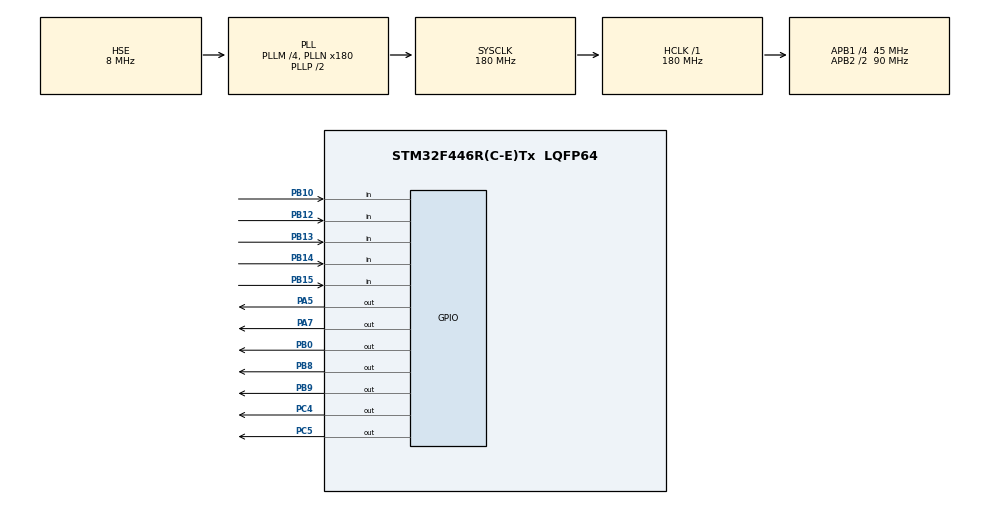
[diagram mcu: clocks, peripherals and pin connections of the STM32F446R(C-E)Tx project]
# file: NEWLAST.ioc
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Mcu.Family=STM32F4
Mcu.Name=STM32F446R(C-E)Tx
Mcu.Package=LQFP64
NVIC.PriorityGroup=NVIC_PRIORITYGROUP_4
PA13.Mode=Serial_Wire
PA13.Signal=SYS_JTMS-SWDIO
PA14.Mode=Serial_Wire
PA14.Signal=SYS_JTCK-SWCLK
PA5.Signal=GPIO_Output
PA7.Signal=GPIO_Output
PB0.Signal=GPIO_Output
PB10.Signal=GPIO_Input
PB12.Signal=GPIO_Input
PB13.Signal=GPIO_Input
PB14.Signal=GPIO_Input
PB15.Signal=GPIO_Input
PB8.Signal=GPIO_Output
PB9.Signal=GPIO_Output
PC4.Signal=GPIO_Output
PC5.Signal=GPIO_Output
PH0-OSC_IN.Mode=HSE-External-Oscillator
PH0-OSC_IN.Signal=RCC_OSC_IN
PH1-OSC_OUT.Mode=HSE-External-Oscillator
PH1-OSC_OUT.Signal=RCC_OSC_OUT
ProjectManager.HeapSize=0x200
ProjectManager.StackSize=0x400
ProjectManager.TargetToolchain=EWARM V8.32
RCC.AHBFreq_Value=180000000
RCC.APB1CLKDivider=RCC_HCLK_DIV4
RCC.APB1Freq_Value=45000000
RCC.APB1TimFreq_Value=90000000
RCC.APB2CLKDivider=RCC_HCLK_DIV2
RCC.APB2Freq_Value=90000000
RCC.APB2TimFreq_Value=180000000
RCC.CortexFreq_Value=180000000
RCC.HCLKFreq_Value=180000000
RCC.HSE_VALUE=8000000
RCC.PLLM=4
RCC.PLLN=180
RCC.PLLSourceVirtual=RCC_PLLSOURCE_HSE
RCC.SYSCLKFreq_VALUE=180000000
RCC.SYSCLKSource=RCC_SYSCLKSOURCE_PLLCLK
RCC.USBFreq_Value=180000000
RCC.VCOOutputFreq_Value=360000000
RTC.Date=31
RTC.Hours=18
RTC.Minutes=30
RTC.Month=RTC_MONTH_AUGUST
RTC.Seconds=30
RTC.Year=20
VP_RTC_VS_RTC_Activate.Mode=RTC_Enabled
VP_RTC_VS_RTC_WakeUp_intern.Mode=WakeUp
board=custom

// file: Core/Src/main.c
/* USER CODE BEGIN Header */
/**
  ******************************************************************************
  * @file           : main.c
  * @brief          : Main program body
  ******************************************************************************
  * @attention
  *
  * <h2><center>&copy; Copyright (c) 2020 STMicroelectronics.
  * All rights reserved.</center></h2>
  *
  * This software component is licensed by ST under BSD 3-Clause license,
  * the "License"; You may not use this file except in compliance with the
  * License. You may obtain a copy of the License at:
  *                        opensource.org/licenses/BSD-3-Clause
  *
  ******************************************************************************
  */
/* USER CODE END Header */
#include "main.h"
#include "rtc.h"
#include "gpio.h"
#include "stdbool.h"

void SystemClock_Config(void);
void main_menu(void);
void menu_display(void);

int main(void)
{

  /* MCU Configuration--------------------------------------------------------*/

  /* Reset of all peripherals, Initializes the Flash interface and the Systick. */
  HAL_Init();

  /* Configure the system clock */
  SystemClock_Config();

  /* Initialize all configured peripherals */
  MX_GPIO_Init();
  MX_RTC_Init();
  OLED_Init();

  /* Infinite loop */
  /* USER CODE BEGIN WHILE */
  while (1)
  {
      main_menu();
      if(HAL_GPIO_ReadPin(GPIOB,GPIO_PIN_15)==GPIO_PIN_RESET)
      {
       int t = 1;
       while(t<2)
        {
        menu_display();
       if(HAL_GPIO_ReadPin(GPIOB,GPIO_PIN_10)==GPIO_PIN_RESET)
       {
          t = 2;
       }
       }
       }
  }

    /* USER CODE BEGIN 3 */
  /* USER CODE END 3 */
}
void menu_display(void)
{
  HAL_Delay(50);
  OLED_Clear();
  OLED_ShowChinese(0,0,0,16);//��
  OLED_ShowChinese(18,0,1,16);//��
  OLED_ShowChinese(0,18,2,16);//԰
  OLED_ShowChinese(18,18,3,16);//��
//  OLED_DrawCircle(60,32,30);
//  OLED_DrawLine(48,16,54,16);
//  OLED_DrawLine(66,16,74,16);
 // OLED_DrawCircle(60,48,5);
 //OLED_DrawPoint(60,40);
  OLED_Refresh();

  if(HAL_GPIO_ReadPin(GPIOB,GPIO_PIN_13)==GPIO_PIN_RESET)
  {
    int g = 1;
    int t = 0;
    HAL_GPIO_TogglePin(GPIOB,GPIO_PIN_8);
    HAL_GPIO_WritePin(GPIOB,GPIO_PIN_9,GPIO_PIN_SET);
    HAL_Delay(100);
    while(HAL_GPIO_ReadPin(GPIOB,GPIO_PIN_13)==GPIO_PIN_RESET)
    {
      HAL_Delay(100);
      t = t+1;
      if(t==30)
      {
      while(g<2)
      {
      HAL_Delay(50);
      OLED_ShowChinese(92,0,8,16);
      OLED_ShowChinese(108,0,9,16);
      OLED_Refresh();
      HAL_GPIO_WritePin(GPIOB,GPIO_PIN_8,GPIO_PIN_SET);
      HAL_Delay(500);
      HAL_GPIO_WritePin(GPIOB,GPIO_PIN_8,GPIO_PIN_RESET);
      HAL_Delay(500);
      if(HAL_GPIO_ReadPin(GPIOB,GPIO_PIN_13)==GPIO_PIN_RESET)
      {
        g = 2;
      }
      }
      }
    }

  }
  if(HAL_GPIO_ReadPin(GPIOB,GPIO_PIN_14)==GPIO_PIN_RESET)
  {
    int r = 1;
    int t = 0;
    HAL_GPIO_TogglePin(GPIOB,GPIO_PIN_9);
    HAL_GPIO_WritePin(GPIOB,GPIO_PIN_8,GPIO_PIN_SET);
    HAL_Delay(100);
    while(HAL_GPIO_ReadPin(GPIOB,GPIO_PIN_14)==GPIO_PIN_RESET)
    {
      HAL_Delay(100);
      t = t+1;
      if(t==30)
      {
      while(r<2)
      {
      HAL_Delay(50);
      OLED_ShowChinese(92,0,7,16);
      OLED_ShowChinese(108,0,9,16);
      OLED_Refresh();
      HAL_GPIO_WritePin(GPIOB,GPIO_PIN_9,GPIO_PIN_SET);
      HAL_Delay(500);
      HAL_GPIO_WritePin(GPIOB,GPIO_PIN_9,GPIO_PIN_RESET);
      HAL_Delay(500);
      if(HAL_GPIO_ReadPin(GPIOB,GPIO_PIN_14)==GPIO_PIN_RESET)
      {
        r = 2;
      }
      }
      }
    }
  }

}
void main_menu(void)
{
    RTC_TimeTypeDef stime;
    RTC_DateTypeDef sdate;
   HAL_RTC_GetTime(&hrtc, &stime, RTC_FORMAT_BIN);
   HAL_RTC_GetDate(&hrtc, &sdate, RTC_FORMAT_BIN);
    /* USER CODE END WHILE */
  HAL_Delay(50);
  OLED_Clear();
  OLED_ShowChinese(0,0,0,16);//��
  OLED_ShowChinese(18,0,1,16);//��
  OLED_ShowChinese(36,0,2,16);//԰
  OLED_ShowChinese(54,0,3,16);//��
  OLED_ShowChinese(72,0,4,16);//��
  OLED_ShowChinese(90,0,5,16);//��
  OLED_ShowChinese(108,0,6,16);//��
  OLED_ShowString(8,16,"LIAOWANYIYI",16);
  OLED_ShowNum(20,32,2000+sdate.Year,4,16);
  OLED_ShowNum(55,32,sdate.Month,2,16);
  OLED_ShowNum(75,32,sdate.Date,2,16);
  OLED_ShowNum(20,48,stime.Hours,2,16);
  OLED_ShowNum(40,48,stime.Minutes,2,16);
  OLED_ShowNum(60,48,stime.Seconds,2,16);
  OLED_Refresh();
}

void SystemClock_Config(void)
{
  RCC_OscInitTypeDef RCC_OscInitStruct = {0};
  RCC_ClkInitTypeDef RCC_ClkInitStruct = {0};
  RCC_PeriphCLKInitTypeDef PeriphClkInitStruct = {0};

  /** Configure the main internal regulator output voltage
  */
  __HAL_RCC_PWR_CLK_ENABLE();
  __HAL_PWR_VOLTAGESCALING_CONFIG(PWR_REGULATOR_VOLTAGE_SCALE1);
  /** Initializes the RCC Oscillators according to the specified parameters
  * in the RCC_OscInitTypeDef structure.
  */
  RCC_OscInitStruct.OscillatorType = RCC_OSCILLATORTYPE_LSI|RCC_OSCILLATORTYPE_HSE;
  RCC_OscInitStruct.HSEState = RCC_HSE_ON;
  RCC_OscInitStruct.LSEState = RCC_LSE_OFF;
  RCC_OscInitStruct.LSIState = RCC_LSI_ON;
  RCC_OscInitStruct.PLL.PLLState = RCC_PLL_ON;
  RCC_OscInitStruct.PLL.PLLSource = RCC_PLLSOURCE_HSE;
  RCC_OscInitStruct.PLL.PLLM = 4;
  RCC_OscInitStruct.PLL.PLLN = 180;
  RCC_OscInitStruct.PLL.PLLP = RCC_PLLP_DIV2;
  RCC_OscInitStruct.PLL.PLLQ = 2;
  RCC_OscInitStruct.PLL.PLLR = 2;
  if (HAL_RCC_OscConfig(&RCC_OscInitStruct) != HAL_OK)
  {
    Error_Handler();
  }
  /** Activate the Over-Drive mode
  */
  if (HAL_PWREx_EnableOverDrive() != HAL_OK)
  {
    Error_Handler();
  }
  /** Initializes the CPU, AHB and APB buses clocks
  */
  RCC_ClkInitStruct.ClockType = RCC_CLOCKTYPE_HCLK|RCC_CLOCKTYPE_SYSCLK
                              |RCC_CLOCKTYPE_PCLK1|RCC_CLOCKTYPE_PCLK2;
  RCC_ClkInitStruct.SYSCLKSource = RCC_SYSCLKSOURCE_PLLCLK;
  RCC_ClkInitStruct.AHBCLKDivider = RCC_SYSCLK_DIV1;
  RCC_ClkInitStruct.APB1CLKDivider = RCC_HCLK_DIV4;
  RCC_ClkInitStruct.APB2CLKDivider = RCC_HCLK_DIV2;

  if (HAL_RCC_ClockConfig(&RCC_ClkInitStruct, FLASH_LATENCY_5) != HAL_OK)
  {
    Error_Handler();
  }
  PeriphClkInitStruct.PeriphClockSelection = RCC_PERIPHCLK_RTC;
  PeriphClkInitStruct.RTCClockSelection = RCC_RTCCLKSOURCE_LSI;
  if (HAL_RCCEx_PeriphCLKConfig(&PeriphClkInitStruct) != HAL_OK)
  {
    Error_Handler();
  }
}

void Error_Handler(void)
{
}

/************************ (C) COPYRIGHT STMicroelectronics *****END OF FILE****/
